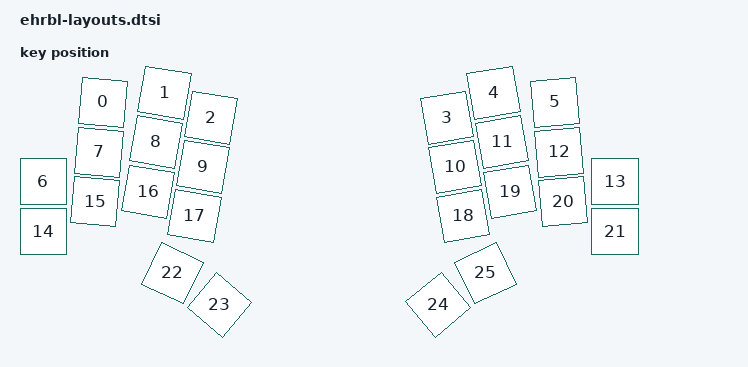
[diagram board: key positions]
#include <physical_layouts.dtsi>

/ {
    default_layout: keymap_layout_0 {
        compatible = "zmk,physical-layout";
        display-name = "LAYOUT";
        transform = <&default_transform>;

        keys  //                     w   h    x    y     rot    rx    ry
            = <&key_physical_attrs 100 100  120   27     500   170    77>
            , <&key_physical_attrs 100 100  243    8    1000   293    58>
            , <&key_physical_attrs 100 100  336   58    1000   386   108>
            , <&key_physical_attrs 100 100  808   58 (-1000)   858   108>
            , <&key_physical_attrs 100 100  901    8 (-1000)   951    58>
            , <&key_physical_attrs 100 100 1024   27  (-500)  1074    77>
            , <&key_physical_attrs 100 100    0  186       0     0     0>
            , <&key_physical_attrs 100 100  112  127     500   162   177>
            , <&key_physical_attrs 100 100  226  107    1000   276   157>
            , <&key_physical_attrs 100 100  320  156    1000   370   206>
            , <&key_physical_attrs 100 100  824  156 (-1000)   874   206>
            , <&key_physical_attrs 100 100  918  107 (-1000)   968   157>
            , <&key_physical_attrs 100 100 1032  127  (-500)  1082   177>
            , <&key_physical_attrs 100 100 1144  186       0     0     0>
            , <&key_physical_attrs 100 100    0  286       0     0     0>
            , <&key_physical_attrs 100 100  104  226     500   154   276>
            , <&key_physical_attrs 100 100  210  206    1000   260   256>
            , <&key_physical_attrs 100 100  303  255    1000   353   305>
            , <&key_physical_attrs 100 100  840  255 (-1000)   890   305>
            , <&key_physical_attrs 100 100  934  206 (-1000)   984   256>
            , <&key_physical_attrs 100 100 1040  226  (-500)  1090   276>
            , <&key_physical_attrs 100 100 1144  286       0     0     0>
            , <&key_physical_attrs 100 100  259  369    2500   309   419>
            , <&key_physical_attrs 100 100  353  433    4000   403   483>
            , <&key_physical_attrs 100 100  791  433 (-4000)   840   483>
            , <&key_physical_attrs 100 100  885  369 (-2500)   935   419>
            ;
    };

    position_map {
        compatible = "zmk,physical-layout-position-map";

        layout {
            physical-layout = <&default_layout>;
            positions = <>;
        };
    };
};
